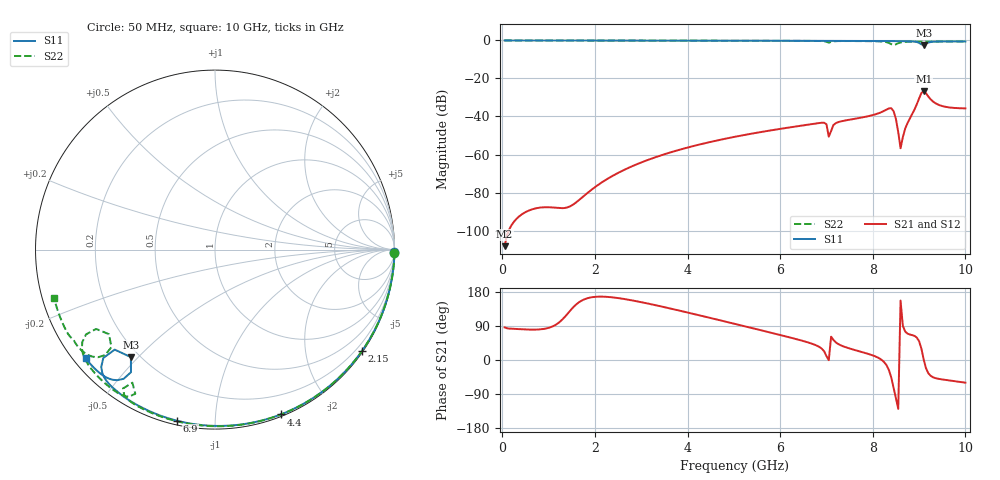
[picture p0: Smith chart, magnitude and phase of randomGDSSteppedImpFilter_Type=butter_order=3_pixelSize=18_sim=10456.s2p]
! freq	dB(S11)	phase(S11)	dB(S12)	phase(S12)
!  dB(S21)	phase(S21)	dB(S22)	phase(S22)
!S-par simulation data
#  GHz  S  DB  R 50
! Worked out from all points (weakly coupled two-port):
!   200 points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, 50 MHz to 10 GHz, reference 50 ohm
!   highest |S21| = -26.58 dB at 9.1 GHz (marker M1); lowest = -108.2 dB at 50 MHz (marker M2)
!   lowest |S11| = -2.4 dB at 9.1 GHz (marker M3), VSWR 7.35, Z = 8.38 - j23.8 ohm
!   |S11| at or under -10 dB: nowhere
!   |S22| runs from -2.4 to 0.0 dB; largest |S21 - S12| = 0
!   S11 on the Smith chart (normalised r, x): 50 MHz: open; 2.15 GHz: 0.03, -3.22; 4.4 GHz: 0.02, -1.47; 6.9 GHz: 0.02, -0.80; 10 GHz: 0.03, -0.36
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0.05  -0.00 -0.8  -108.22 86.0  -108.22 86.0  -0.00 -1.0
1.75  -0.04 -28.2  -82.05 159.0  -82.05 159.0  -0.04 -33.0
2.15  -0.04 -34.5  -74.65 167.2  -74.65 167.2  -0.05 -40.3
3.4  -0.07 -53.6  -60.66 142.2  -60.66 142.2  -0.08 -62.4
4.4  -0.10 -68.3  -53.92 113.7  -53.92 113.7  -0.11 -79.4
5.05  -0.12 -77.5  -50.54 94.5  -50.54 94.5  -0.14 -90.0
6.7  -0.19 -99.9  -43.94 42.4  -43.94 42.4  -0.24 -116.6
6.9  -0.21 -102.5  -43.29 29.8  -43.29 29.8  -0.32 -120.6
7  -0.21 -103.9  -44.07 10.2  -44.07 10.2  -0.65 -123.5
7.05  -0.22 -104.5  -50.60 -0.4  -50.60 -0.4  -1.18 -121.8
7.2  -0.22 -106.5  -43.51 46.8  -43.51 46.8  -0.36 -121.7
8  -0.28 -117.1  -39.26 12.1  -39.26 12.1  -0.39 -136.9
8.35  -0.32 -122.0  -35.73 -26.9  -35.73 -26.9  -1.31 -146.7
8.45  -0.34 -123.4  -37.20 -73.2  -37.20 -73.2  -2.44 -141.4
8.5  -0.35 -124.2  -41.33 -100.8  -41.33 -100.8  -2.01 -136.7
8.6  -0.37 -125.7  -56.73 156.8  -56.73 156.8  -1.05 -137.4
8.7  -0.40 -127.5  -46.37 75.1  -46.37 75.1  -0.73 -140.3
9  -1.24 -135.9  -30.53 49.6  -30.53 49.6  -0.58 -146.8
9.1  -2.38 -128.0  -26.58 1.2  -26.58 1.2  -0.55 -148.2
9.2  -1.10 -125.2  -29.50 -34.9  -29.50 -34.9  -0.50 -150.1
9.4  -0.58 -130.5  -33.62 -49.2  -33.62 -49.2  -0.51 -153.6
10  -0.53 -139.9  -35.72 -59.9  -35.72 -59.9  -0.57 -163.4
